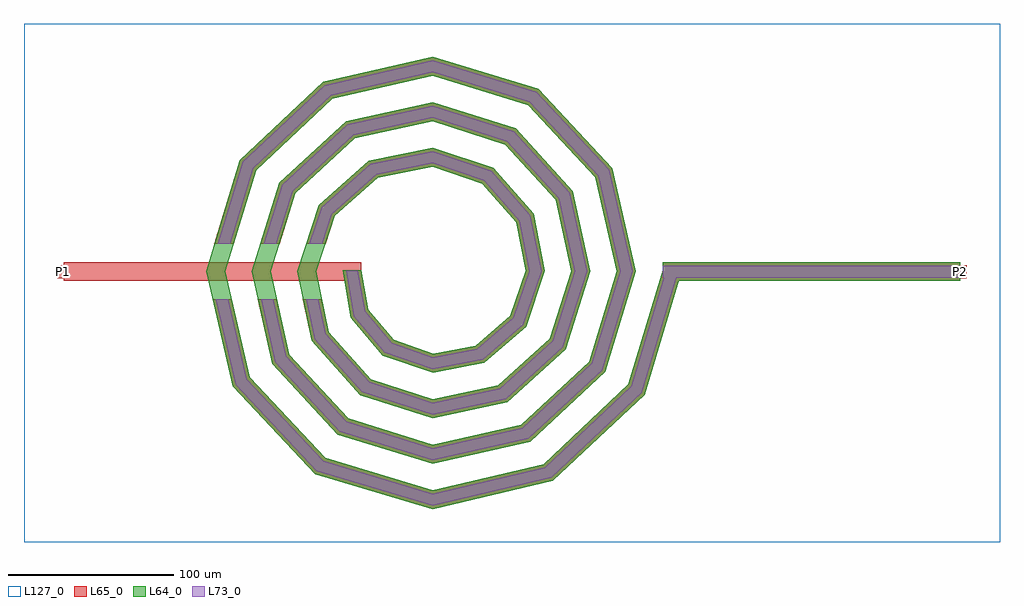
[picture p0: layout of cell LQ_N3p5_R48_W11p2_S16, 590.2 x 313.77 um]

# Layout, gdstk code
import gdstk
lib = gdstk.Library(unit=1e-6, precision=1e-09)
def R(c, l, rs):  # rectangles x0, y0, x1, y1
    for r in rs: c.add(gdstk.rectangle(r[:2], r[2:], *l))
def P(c, l, *ps):  # polygons
    for p in ps: c.add(gdstk.Polygon(p, *l))
L64_0 = (64, 0)
L65_0 = (65, 0)
L73_0 = (73, 0)
L127_0 = (127, 0)

lq_n3p5_r48_w11p2_s16 = lib.new_cell('LQ_N3p5_R48_W11p2_S16')
R(lq_n3p5_r48_w11p2_s16, L64_0, [(139.247,-5.6,319.247,5.6)])
P(lq_n3p5_r48_w11p2_s16, L64_0, [(-38.784,-22.954),(-23.275,-41.244),(0.447,-49.647),(26.341,-44.766),(47.172,-26.758),(56.523,0.397),(50.743,29.739),(30.233,53.105),(0.358,63.399),(-33.145,56.717),(-59.043,33.701),(-70.275,0.326),(-62.687,-36.558),(-37.164,-64.984),(0.299,-77.152),(39.974,-68.656),(70.928,-40.623),(84.029,0.276),(74.622,43.394),(44.08,76.874),(0.256,90.907),(-46.816,80.588),(-82.821,47.534),(-97.784,0.239),(-86.552,-50.241),(-50.986,-88.769),(0.224,-104.662),(53.668,-92.516),(94.719,-54.437),(111.54,0.211),(98.478,57.096),(57.886,100.669),(0.2,118.418),(-60.525,104.44),(-106.62,61.335),(-125.296,0.189),(-110.402,-63.955),(-64.782,-112.572),(0.18,-132.174),(67.386,-116.363),(118.524,-68.229),(139.483,1.61),(150.211,-1.61),(128.388,-74.325),(72.875,-126.577),(0.18,-143.764),(-70.894,-122.426),(-120.625,-69.428),(-136.886,0.189),(-116.464,67.463),(-65.98,114.673),(0.2,130.007),(64.033,110.502),(108.722,62.531),(123.128,0.211),(104.539,-60.604),(59.081,-102.771),(0.224,-116.25),(-57.177,-98.575),(-96.821,-55.629),(-109.371,0.239),(-92.61,53.751),(-52.176,90.872),(0.256,102.492),(50.327,86.644),(84.924,48.72),(95.613,0.276),(80.676,-46.905),(45.262,-78.977),(0.299,-88.734),(-43.487,-74.706),(-73.032,-41.8),(-81.855,0.326),(-68.734,40.072),(-38.334,67.089),(0.358,74.975),(36.661,62.759),(61.149,34.862),(68.094,0.397),(56.779,-33.258),(31.382,-55.213),(0.447,-61.213),(-29.863,-50.793),(-49.282,-27.891),(-54.066,0.98),(-43.039,0.98)])
R(lq_n3p5_r48_w11p2_s16, L65_0, [(-222.952,-5.6,-42.952,5.6), (139.247,-5.6,319.247,5.6), (-226.952,-4,-218.952,4), (315.247,-4,323.247,4)])
P(lq_n3p5_r48_w11p2_s16, L65_0, [(-110.402,-63.955),(-64.782,-112.572),(0.18,-132.174),(67.386,-116.363),(118.524,-68.229),(139.483,1.61),(150.211,-1.61),(128.387,-74.325),(72.875,-126.577),(0.18,-143.764),(-70.894,-122.426),(-120.625,-69.428),(-132.917,-16.8),(-121.416,-16.8)],
  [(-86.552,-50.241),(-50.986,-88.769),(0.224,-104.662),(53.668,-92.516),(94.719,-54.437),(111.54,0.211),(98.478,57.096),(57.887,100.669),(0.2,118.418),(-60.525,104.44),(-106.62,61.335),(-120.139,16.8),(-131.843,16.8),(-116.464,67.463),(-65.98,114.673),(0.2,130.007),(64.033,110.502),(108.722,62.531),(123.128,0.211),(104.539,-60.604),(59.081,-102.771),(0.224,-116.25),(-57.177,-98.575),(-96.821,-55.629),(-105.543,-16.8),(-94.064,-16.8)],
  [(-62.687,-36.558),(-37.164,-64.984),(0.299,-77.152),(39.974,-68.656),(70.928,-40.623),(84.029,0.276),(74.622,43.394),(44.08,76.874),(0.256,90.907),(-46.817,80.588),(-82.821,47.534),(-92.447,16.8),(-104.184,16.8),(-92.61,53.751),(-52.176,90.872),(0.256,102.492),(50.327,86.644),(84.924,48.72),(95.613,0.276),(80.676,-46.905),(45.262,-78.977),(0.299,-88.734),(-43.487,-74.706),(-73.032,-41.8),(-78.268,-16.8),(-66.825,-16.8)],
  [(-23.275,-41.244),(0.447,-49.648),(26.341,-44.766),(47.172,-26.758),(56.523,0.397),(50.743,29.739),(30.233,53.105),(0.358,63.399),(-33.146,56.717),(-59.043,33.701),(-64.622,16.8),(-76.416,16.8),(-68.734,40.072),(-38.334,67.089),(0.358,74.975),(36.661,62.759),(61.149,34.862),(68.094,0.397),(56.779,-33.258),(31.382,-55.213),(0.447,-61.213),(-29.863,-50.793),(-49.282,-27.891),(-54.066,0.98),(-43.039,0.98),(-38.784,-22.954)])
R(lq_n3p5_r48_w11p2_s16, L73_0, [(139.247,-3.6,319.247,3.6)])
P(lq_n3p5_r48_w11p2_s16, L73_0, [(-112.227,-64.933),(-65.874,-114.331),(0.116,-134.243),(68.366,-118.187),(120.285,-69.318),(141.399,1.035),(148.295,-1.035),(126.626,-73.237),(71.895,-124.753),(0.116,-141.694),(-69.803,-120.666),(-118.799,-68.451),(-130.863,-16.8),(-123.47,-16.8)],
  [(-88.386,-51.203),(-52.092,-90.52),(0.144,-106.731),(54.634,-94.347),(96.472,-55.538),(113.609,0.136),(100.307,58.066),(58.984,102.425),(0.128,120.487),(-61.499,106.268),(-108.378,62.429),(-122.229,16.8),(-129.753,16.8),(-114.707,66.369),(-65.006,112.846),(0.128,127.938),(62.936,108.746),(106.892,61.561),(121.059,0.136),(102.785,-59.503),(58.114,-100.94),(0.144,-114.181),(-56.071,-96.824),(-94.987,-54.667),(-103.494,-16.8),(-96.114,-16.8)],
  [(-64.534,-37.494),(-38.293,-66.72),(0.192,-79.22),(40.918,-70.499),(72.669,-41.745),(86.098,0.177),(76.462,44.345),(45.195,78.618),(0.165,92.976),(-47.774,82.424),(-84.569,48.644),(-94.543,16.8),(-102.088,16.8),(-90.862,52.641),(-51.219,89.035),(0.165,100.423),(49.211,84.899),(83.084,47.769),(93.545,0.177),(78.935,-45.784),(44.318,-77.134),(0.192,-86.666),(-42.358,-72.97),(-71.185,-40.864),(-76.225,-16.8),(-68.868,-16.8)],
  [(-24.451,-42.949),(0.287,-51.713),(27.241,-46.632),(48.887,-27.919),(58.589,0.256),(52.601,30.654),(31.381,54.829),(0.23,65.466),(-34.072,58.569),(-60.774,34.838),(-66.728,16.8),(-74.31,16.8),(-67.004,38.934),(-37.407,65.237),(0.23,72.908),(35.513,61.035),(59.291,33.947),(66.028,0.256),(55.063,-32.097),(30.482,-53.348),(0.287,-59.148),(-28.686,-49.088),(-47.407,-27.009),(-52.097,0.63),(-45.008,0.63),(-40.659,-23.835)])
R(lq_n3p5_r48_w11p2_s16, L127_0, [(-246.952,-163.764,343.247,150.007)])
lq_n3p5_r48_w11p2_s16.add(gdstk.Label('P2', (319.247,0), layer=65, texttype=0))
lq_n3p5_r48_w11p2_s16.add(gdstk.Label('P1', (-222.952,0), layer=65, texttype=0))
lq_n3p5_r48_w11p2_s16.add(gdstk.Label('P2', (323.247,0), layer=145, texttype=0))
lq_n3p5_r48_w11p2_s16.add(gdstk.Label('P1', (-226.952,0), layer=145, texttype=0))

lib.write_gds('LQ_N3p5_R48_W11p2_S16.gds')
